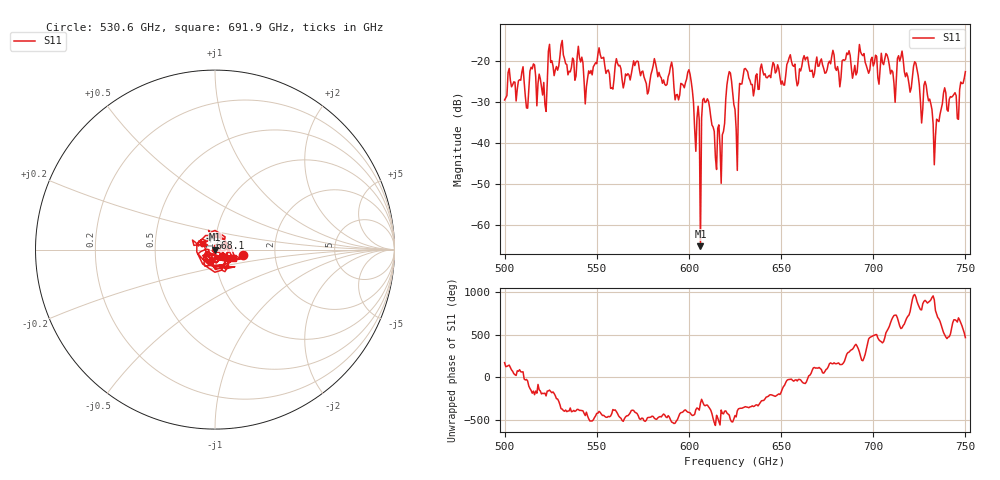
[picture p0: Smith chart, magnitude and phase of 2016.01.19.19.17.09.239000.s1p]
!Created with skrf (http://scikit-rf.org).
# GHz S RI R 50.0
!freq ReS11 ImS11
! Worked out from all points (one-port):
!   401 points, 500 GHz to 750 GHz, reference 50 ohm
!   lowest |S11| = -65.2 dB at 606.2 GHz (marker M1), VSWR 1.00, Z = 50 + j0.0446 ohm
!   |S11| at or under -10 dB: start of sweep to end of sweep
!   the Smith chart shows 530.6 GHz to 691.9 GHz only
!   S11 on the Smith chart (normalised r, x): 530.6 GHz: 1.37, -0.08; 668.1 GHz: 0.94, +0.12; 691.9 GHz: 1.21, -0.12
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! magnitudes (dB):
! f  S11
! 500 GHz  -29.5
! 511.9 GHz  -31.4
! 515 GHz  -21.8
! 521.9 GHz  -30.6
! 525 GHz  -20.3
! 530.6 GHz  -16.0
! 531.2 GHz  -14.9
! 544.4 GHz  -26.3
! 551.9 GHz  -18.4
! 562.5 GHz  -21.0
! 590 GHz  -21.3
! 593.8 GHz  -28.1
! 600 GHz  -22.1
! 605 GHz  -31.0
! 606.2 GHz  -65.2
! 609.4 GHz  -29.9
! 618.1 GHz  -37.9
! 621.9 GHz  -22.5
! 625 GHz  -31.8
! 630.6 GHz  -21.8
! 656.2 GHz  -21.0
! 668.1 GHz  -23.0
! 687.5 GHz  -18.6
! 691.9 GHz  -19.3
! 718.8 GHz  -23.7
! 723.1 GHz  -20.5
! 733.8 GHz  -38.4
! 750 GHz  -22.5
